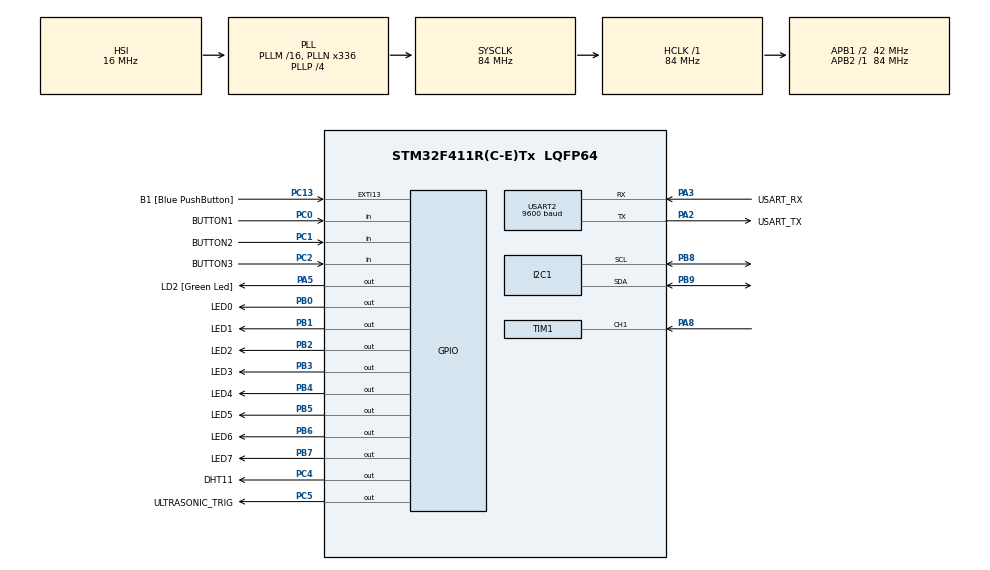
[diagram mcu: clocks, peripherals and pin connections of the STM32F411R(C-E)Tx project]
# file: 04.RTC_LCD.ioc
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Mcu.Family=STM32F4
Mcu.Name=STM32F411R(C-E)Tx
Mcu.Package=LQFP64
NVIC.PriorityGroup=NVIC_PRIORITYGROUP_0
NVIC.TIM1_BRK_TIM9_IRQn=true\:0\:0\:false\:false\:true\:true\:true\:true
NVIC.TIM1_CC_IRQn=true\:0\:0\:false\:false\:true\:true\:true\:true
NVIC.TIM1_TRG_COM_TIM11_IRQn=true\:0\:0\:false\:true\:true\:1\:true\:true\:true
NVIC.TIM1_UP_TIM10_IRQn=true\:0\:0\:false\:false\:true\:true\:true\:true
NVIC.USART2_IRQn=true\:0\:0\:false\:false\:true\:true\:true\:true
PA13.GPIO_Label=TMS
PA13.Mode=Serial_Wire
PA13.Signal=SYS_JTMS-SWDIO
PA14.GPIO_Label=TCK
PA14.Mode=Serial_Wire
PA14.Signal=SYS_JTCK-SWCLK
PA2.GPIO_Label=USART_TX
PA2.Mode=Asynchronous
PA2.Signal=USART2_TX
PA3.GPIO_Label=USART_RX
PA3.Mode=Asynchronous
PA3.Signal=USART2_RX
PA5.GPIO_Label=LD2 [Green Led]
PA5.Signal=GPIO_Output
PA8.Signal=S_TIM1_CH1
PB0.GPIO_Label=LED0
PB0.Signal=GPIO_Output
PB1.GPIO_Label=LED1
PB1.Signal=GPIO_Output
PB2.GPIO_Label=LED2
PB2.Signal=GPIO_Output
PB3.GPIO_Label=LED3
PB3.Signal=GPIO_Output
PB4.GPIO_Label=LED4
PB4.Signal=GPIO_Output
PB5.GPIO_Label=LED5
PB5.Signal=GPIO_Output
PB6.GPIO_Label=LED6
PB6.Signal=GPIO_Output
PB7.GPIO_Label=LED7
PB7.Signal=GPIO_Output
PB8.Mode=I2C
PB8.Signal=I2C1_SCL
PB9.Mode=I2C
PB9.Signal=I2C1_SDA
PC0.GPIO_Label=BUTTON1
PC0.Signal=GPIO_Input
PC1.GPIO_Label=BUTTON2
PC1.Signal=GPIO_Input
PC13-ANTI_TAMP.GPIO_Label=B1 [Blue PushButton]
PC13-ANTI_TAMP.GPIO_ModeDefaultEXTI=GPIO_MODE_IT_FALLING
PC13-ANTI_TAMP.Signal=GPXTI13
PC14-OSC32_IN.Mode=LSE-External-Oscillator
PC14-OSC32_IN.Signal=RCC_OSC32_IN
PC15-OSC32_OUT.Mode=LSE-External-Oscillator
PC15-OSC32_OUT.Signal=RCC_OSC32_OUT
PC2.GPIO_Label=BUTTON3
PC2.Signal=GPIO_Input
PC4.GPIO_Label=DHT11
PC4.Signal=GPIO_Output
PC5.GPIO_Label=ULTRASONIC_TRIG
PC5.Signal=GPIO_Output
PH0\ -\ OSC_IN.Mode=HSE-External-Clock-Source
PH0\ -\ OSC_IN.Signal=RCC_OSC_IN
PH1\ -\ OSC_OUT.Mode=HSE-External-Clock-Source
PH1\ -\ OSC_OUT.Signal=RCC_OSC_OUT
ProjectManager.HeapSize=0x200
ProjectManager.StackSize=0x400
ProjectManager.TargetToolchain=STM32CubeIDE
RCC.48MHZClocksFreq_Value=84000000
RCC.AHBFreq_Value=84000000
RCC.APB1CLKDivider=RCC_HCLK_DIV2
RCC.APB1Freq_Value=42000000
RCC.APB1TimFreq_Value=84000000
RCC.APB2Freq_Value=84000000
RCC.APB2TimFreq_Value=84000000
RCC.CortexFreq_Value=84000000
RCC.FLatency-AdvancedSettings=FLASH_LATENCY_2
RCC.HCLKFreq_Value=84000000
RCC.HSE_VALUE=8000000
RCC.HSI_VALUE=16000000
RCC.PLLN=336
RCC.PLLP=RCC_PLLP_DIV4
RCC.SYSCLKFreq_VALUE=84000000
RCC.SYSCLKSource=RCC_SYSCLKSOURCE_PLLCLK
RCC.VCOOutputFreq_Value=336000000
RTC.Date=30
RTC.Hours=11
RTC.Minutes=10
RTC.Month=RTC_MONTH_AUGUST
RTC.WeekDay=RTC_WEEKDAY_TUESDAY
RTC.Year=22
SH.S_TIM1_CH1.0=TIM1_CH1,Input_Capture1_from_TI1
TIM1.Channel-Input_Capture1_from_TI1=TIM_CHANNEL_1
TIM1.ICPolarity_CH1=TIM_INPUTCHANNELPOLARITY_BOTHEDGE
TIM1.Prescaler=84-1
TIM11.Period=10000-1
TIM11.Prescaler=84-1
USART2.BaudRate=9600
USART2.VirtualMode=VM_ASYNC
VP_RTC_VS_RTC_Activate.Mode=RTC_Enabled
VP_RTC_VS_RTC_Calendar.Mode=RTC_Calendar
VP_TIM11_VS_ClockSourceINT.Mode=Enable_Timer
VP_TIM1_VS_ClockSourceINT.Mode=Internal
board=NUCLEO-F411RE

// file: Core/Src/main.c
/* USER CODE BEGIN Header */
/**
  ******************************************************************************
  * @file           : main.c
  * @brief          : Main program body
  ******************************************************************************
  * @attention
  *
  * Copyright (c) 2022 STMicroelectronics.
  * All rights reserved.
  *
  * This software is licensed under terms that can be found in the LICENSE file
  * in the root directory of this software component.
  * If no LICENSE file comes with this software, it is provided AS-IS.
  *
  ******************************************************************************
  */
/* USER CODE END Header */
#include "main.h"

I2C_HandleTypeDef hi2c1;

RTC_HandleTypeDef hrtc;

TIM_HandleTypeDef htim1;
TIM_HandleTypeDef htim11;

UART_HandleTypeDef huart2;

void SystemClock_Config(void);
static void MX_GPIO_Init(void);
static void MX_USART2_UART_Init(void);
static void MX_TIM11_Init(void);
static void MX_TIM1_Init(void);
static void MX_RTC_Init(void);
static void MX_I2C1_Init(void);
static void MX_NVIC_Init(void);
/* USER CODE BEGIN PFP */
extern void led_all_on();
extern void led_all_off();
extern void led_on_up();
extern void led_on_down();
extern void led2_toggle();
extern void button1_ledall_on_off();
extern void HAL_SYSTICK_Callback();
extern volatile uint8_t rx_data;
extern void pc_command_processing();
extern void ultrasonic_processing();
extern void get_rtc_time(void);

/* USER CODE END PFP */

/* USER CODE BEGIN 0 */
//----------  printf start ----------
#ifdef __GNUC__
/* With GCC, small printf (option LD Linker->Libraries->Small printf
   set to 'Yes') calls __io_putchar() */
#define PUTCHAR_PROTOTYPE int __io_putchar(int ch)
#else
#define PUTCHAR_PROTOTYPE int fputc(int ch, FILE *f)
#endif /* __GNUC_ */
/**
  * @brief  Retargets the C library printf function to the USART.
  * @param  None
  * @retval None
  */
PUTCHAR_PROTOTYPE   // Add for printf
{
  /* Place your implementation of fputc here */
  /* e.g. write a character to the USART3 and Loop until the end of transmission */
  HAL_UART_Transmit(&huart2, (uint8_t *)&ch, 1, 0xFFFF);

  return ch;
}
//----------  printf end ----------
volatile int t1ms_count = 0;
volatile int t2ms_count = 0;
// call by SysTick_Handler of stm32f4xx_it.c
// enter here every 1ms
// ARM default function
void HAL_SYSTICK_Callback()
{
	t1ms_count++; //
	t2ms_count++; //
}
// copy from Driver/STM32F4xx_HAL_Driver/stm32f4xx_hal_tim.c to here
// every TIMER INT callBack function : enter here every 10ms
volatile int TIM11_10ms_counter=0;
volatile int TIM11_10ms_ultrasonic_counter = 0;

void HAL_TIM_PeriodElapsedCallback(TIM_HandleTypeDef *htim)
{
	if(htim->Instance == TIM11)
	{
		TIM11_10ms_counter++;
		TIM11_10ms_ultrasonic_counter++;
	}
}
// count us timer pulse
// 0.000001sec ==> 1us
// 0.001sec ==> 1ms ==> 1000us
// 0.1sec ==> 100ms ==> 100000us
void delay_us(unsigned long us)
{
	//TCNT=0; ex) AVR
	__HAL_TIM_SET_COUNTER(&htim1, 0); // clear timer counter
	while(__HAL_TIM_GET_COUNTER(&htim1) < us) // wait counter value until reach
	;
}
/* USER CODE END 0 */

int main(void)
{

  /* MCU Configuration--------------------------------------------------------*/

  /* Reset of all peripherals, Initializes the Flash interface and the Systick. */
  HAL_Init();

  /* Configure the system clock */
  SystemClock_Config();

  /* Initialize all configured peripherals */
  MX_GPIO_Init();
  MX_USART2_UART_Init();
  MX_TIM11_Init();
  MX_TIM1_Init();
  MX_RTC_Init();
  MX_I2C1_Init();

  /* Initialize interrupts */
  MX_NVIC_Init();
  /* USER CODE BEGIN 2 */
  HAL_TIM_Base_Start_IT(&htim11); // add_SHHAN_0826 for TIM11 every 10ms
  HAL_TIM_IC_Start_IT(&htim1, TIM_CHANNEL_1); // add_SHHAN_0826 for us_delay, ultrasonic

  HAL_UART_Receive_IT(&huart2, &rx_data, 1);	// PC UART Enable rx_interrupt

  DHT11_Init();	// keep high while 3sec data line
  i2c_lcd_init();
  printf("Hello STM32!!!\n");

  /* USER CODE END 2 */

  /* Infinite loop */
  while (1)
  {

    /* USER CODE BEGIN 3 */

	  DHT11_processing();
	  pc_command_processing();
	  ultrasonic_processing();
	  get_rtc_time();

//	  HAL_GPIO_TogglePin(GPIOB, 0xff);
//	  delay_us(50000); // 50ms
//	  if (t1ms_count >= 200)
//	  {
//		  t1ms_count = 0;
//		  HAL_GPIO_TogglePin(GPIOA, GPIO_PIN_5);  // DEMO b'd  LED2
//	  }

//	  if (t2ms_count >= 500)
//	  {
//		  t2ms_count = 0;
//		  HAL_GPIO_TogglePin(GPIOB, 0xff);  // DEMO b'd  LED2
//	  }

//	  if(TIM11_10ms_counter >= 10) //100ms 마다 led �??????? toggle
//	  {
//		  TIM11_10ms_counter = 0;
//		  HAL_GPIO_TogglePin(GPIOB, 0xff);  // DEMO b'd  LED2
//	  }

//	  button1_ledall_on_off();
//	  led2_toggle();
//	  led_on1_down();
//	  led_on1_up();
//
//	  led_on_up();
//	  led_all_off();
//	  led_on_down();
//	  led_all_on();
//
//	  HAL_Delay(1000);    // 1000ms
//	  led_all_off();
//	  HAL_Delay(1000);    // 1000ms
  }
  /* USER CODE END 3 */
}

void SystemClock_Config(void)
{
  RCC_OscInitTypeDef RCC_OscInitStruct = {0};
  RCC_ClkInitTypeDef RCC_ClkInitStruct = {0};

  /** Configure the main internal regulator output voltage
  */
  __HAL_RCC_PWR_CLK_ENABLE();
  __HAL_PWR_VOLTAGESCALING_CONFIG(PWR_REGULATOR_VOLTAGE_SCALE1);

  /** Initializes the RCC Oscillators according to the specified parameters
  * in the RCC_OscInitTypeDef structure.
  */
  RCC_OscInitStruct.OscillatorType = RCC_OSCILLATORTYPE_HSI|RCC_OSCILLATORTYPE_LSI;
  RCC_OscInitStruct.HSIState = RCC_HSI_ON;
  RCC_OscInitStruct.HSICalibrationValue = RCC_HSICALIBRATION_DEFAULT;
  RCC_OscInitStruct.LSIState = RCC_LSI_ON;
  RCC_OscInitStruct.PLL.PLLState = RCC_PLL_ON;
  RCC_OscInitStruct.PLL.PLLSource = RCC_PLLSOURCE_HSI;
  RCC_OscInitStruct.PLL.PLLM = 16;
  RCC_OscInitStruct.PLL.PLLN = 336;
  RCC_OscInitStruct.PLL.PLLP = RCC_PLLP_DIV4;
  RCC_OscInitStruct.PLL.PLLQ = 4;
  if (HAL_RCC_OscConfig(&RCC_OscInitStruct) != HAL_OK)
  {
    Error_Handler();
  }

  /** Initializes the CPU, AHB and APB buses clocks
  */
  RCC_ClkInitStruct.ClockType = RCC_CLOCKTYPE_HCLK|RCC_CLOCKTYPE_SYSCLK
                              |RCC_CLOCKTYPE_PCLK1|RCC_CLOCKTYPE_PCLK2;
  RCC_ClkInitStruct.SYSCLKSource = RCC_SYSCLKSOURCE_PLLCLK;
  RCC_ClkInitStruct.AHBCLKDivider = RCC_SYSCLK_DIV1;
  RCC_ClkInitStruct.APB1CLKDivider = RCC_HCLK_DIV2;
  RCC_ClkInitStruct.APB2CLKDivider = RCC_HCLK_DIV1;

  if (HAL_RCC_ClockConfig(&RCC_ClkInitStruct, FLASH_LATENCY_2) != HAL_OK)
  {
    Error_Handler();
  }
}

/**
  * @brief NVIC Configuration.
  * @retval None
  */
static void MX_NVIC_Init(void)
{
  /* TIM1_TRG_COM_TIM11_IRQn interrupt configuration */
  HAL_NVIC_SetPriority(TIM1_TRG_COM_TIM11_IRQn, 0, 0);
  HAL_NVIC_EnableIRQ(TIM1_TRG_COM_TIM11_IRQn);
}

static void MX_I2C1_Init(void)
{

  hi2c1.Instance = I2C1;
  hi2c1.Init.ClockSpeed = 100000;
  hi2c1.Init.DutyCycle = I2C_DUTYCYCLE_2;
  hi2c1.Init.OwnAddress1 = 0;
  hi2c1.Init.AddressingMode = I2C_ADDRESSINGMODE_7BIT;
  hi2c1.Init.DualAddressMode = I2C_DUALADDRESS_DISABLE;
  hi2c1.Init.OwnAddress2 = 0;
  hi2c1.Init.GeneralCallMode = I2C_GENERALCALL_DISABLE;
  hi2c1.Init.NoStretchMode = I2C_NOSTRETCH_DISABLE;
  if (HAL_I2C_Init(&hi2c1) != HAL_OK)
  {
    Error_Handler();
  }

}

static void MX_RTC_Init(void)
{

  RTC_TimeTypeDef sTime = {0};
  RTC_DateTypeDef sDate = {0};

  /** Initialize RTC Only
  */
  hrtc.Instance = RTC;
  hrtc.Init.HourFormat = RTC_HOURFORMAT_24;
  hrtc.Init.AsynchPrediv = 127;
  hrtc.Init.SynchPrediv = 255;
  hrtc.Init.OutPut = RTC_OUTPUT_DISABLE;
  hrtc.Init.OutPutPolarity = RTC_OUTPUT_POLARITY_HIGH;
  hrtc.Init.OutPutType = RTC_OUTPUT_TYPE_OPENDRAIN;
  if (HAL_RTC_Init(&hrtc) != HAL_OK)
  {
    Error_Handler();
  }

  /** Initialize RTC and set the Time and Date
  */
  sTime.Hours = 0x11;
  sTime.Minutes = 0x10;
  sTime.Seconds = 0x0;
  sTime.DayLightSaving = RTC_DAYLIGHTSAVING_NONE;
  sTime.StoreOperation = RTC_STOREOPERATION_RESET;
  if (HAL_RTC_SetTime(&hrtc, &sTime, RTC_FORMAT_BCD) != HAL_OK)
  {
    Error_Handler();
  }
  sDate.WeekDay = RTC_WEEKDAY_TUESDAY;
  sDate.Month = RTC_MONTH_AUGUST;
  sDate.Date = 0x30;
  sDate.Year = 0x22;

  if (HAL_RTC_SetDate(&hrtc, &sDate, RTC_FORMAT_BCD) != HAL_OK)
  {
    Error_Handler();
  }

}

static void MX_TIM1_Init(void)
{

  TIM_ClockConfigTypeDef sClockSourceConfig = {0};
  TIM_MasterConfigTypeDef sMasterConfig = {0};
  TIM_IC_InitTypeDef sConfigIC = {0};

  htim1.Instance = TIM1;
  htim1.Init.Prescaler = 84-1;
  htim1.Init.CounterMode = TIM_COUNTERMODE_UP;
  htim1.Init.Period = 65535;
  htim1.Init.ClockDivision = TIM_CLOCKDIVISION_DIV1;
  htim1.Init.RepetitionCounter = 0;
  htim1.Init.AutoReloadPreload = TIM_AUTORELOAD_PRELOAD_DISABLE;
  if (HAL_TIM_Base_Init(&htim1) != HAL_OK)
  {
    Error_Handler();
  }
  sClockSourceConfig.ClockSource = TIM_CLOCKSOURCE_INTERNAL;
  if (HAL_TIM_ConfigClockSource(&htim1, &sClockSourceConfig) != HAL_OK)
  {
    Error_Handler();
  }
  if (HAL_TIM_IC_Init(&htim1) != HAL_OK)
  {
    Error_Handler();
  }
  sMasterConfig.MasterOutputTrigger = TIM_TRGO_RESET;
  sMasterConfig.MasterSlaveMode = TIM_MASTERSLAVEMODE_DISABLE;
  if (HAL_TIMEx_MasterConfigSynchronization(&htim1, &sMasterConfig) != HAL_OK)
  {
    Error_Handler();
  }
  sConfigIC.ICPolarity = TIM_INPUTCHANNELPOLARITY_BOTHEDGE;
  sConfigIC.ICSelection = TIM_ICSELECTION_DIRECTTI;
  sConfigIC.ICPrescaler = TIM_ICPSC_DIV1;
  sConfigIC.ICFilter = 0;
  if (HAL_TIM_IC_ConfigChannel(&htim1, &sConfigIC, TIM_CHANNEL_1) != HAL_OK)
  {
    Error_Handler();
  }

}

static void MX_TIM11_Init(void)
{

  htim11.Instance = TIM11;
  htim11.Init.Prescaler = 84-1;
  htim11.Init.CounterMode = TIM_COUNTERMODE_UP;
  htim11.Init.Period = 10000-1;
  htim11.Init.ClockDivision = TIM_CLOCKDIVISION_DIV1;
  htim11.Init.AutoReloadPreload = TIM_AUTORELOAD_PRELOAD_DISABLE;
  if (HAL_TIM_Base_Init(&htim11) != HAL_OK)
  {
    Error_Handler();
  }

}

static void MX_USART2_UART_Init(void)
{

  huart2.Instance = USART2;
  huart2.Init.BaudRate = 9600;
  huart2.Init.WordLength = UART_WORDLENGTH_8B;
  huart2.Init.StopBits = UART_STOPBITS_1;
  huart2.Init.Parity = UART_PARITY_NONE;
  huart2.Init.Mode = UART_MODE_TX_RX;
  huart2.Init.HwFlowCtl = UART_HWCONTROL_NONE;
  huart2.Init.OverSampling = UART_OVERSAMPLING_16;
  if (HAL_UART_Init(&huart2) != HAL_OK)
  {
    Error_Handler();
  }

}

static void MX_GPIO_Init(void)
{
  GPIO_InitTypeDef GPIO_InitStruct = {0};

  /* GPIO Ports Clock Enable */
  __HAL_RCC_GPIOC_CLK_ENABLE();
  __HAL_RCC_GPIOH_CLK_ENABLE();
  __HAL_RCC_GPIOA_CLK_ENABLE();
  __HAL_RCC_GPIOB_CLK_ENABLE();

  /*Configure GPIO pin Output Level */
  HAL_GPIO_WritePin(LD2_GPIO_Port, LD2_Pin, GPIO_PIN_RESET);

  /*Configure GPIO pin Output Level */
  HAL_GPIO_WritePin(GPIOC, DHT11_Pin|ULTRASONIC_TRIG_Pin, GPIO_PIN_RESET);

  /*Configure GPIO pin Output Level */
  HAL_GPIO_WritePin(GPIOB, LED0_Pin|LED1_Pin|LED2_Pin|LED3_Pin
                          |LED4_Pin|LED5_Pin|LED6_Pin|LED7_Pin, GPIO_PIN_RESET);

  /*Configure GPIO pin : B1_Pin */
  GPIO_InitStruct.Pin = B1_Pin;
  GPIO_InitStruct.Mode = GPIO_MODE_IT_FALLING;
  GPIO_InitStruct.Pull = GPIO_NOPULL;
  HAL_GPIO_Init(B1_GPIO_Port, &GPIO_InitStruct);

  /*Configure GPIO pins : BUTTON1_Pin BUTTON2_Pin BUTTON3_Pin */
  GPIO_InitStruct.Pin = BUTTON1_Pin|BUTTON2_Pin|BUTTON3_Pin;
  GPIO_InitStruct.Mode = GPIO_MODE_INPUT;
  GPIO_InitStruct.Pull = GPIO_NOPULL;
  HAL_GPIO_Init(GPIOC, &GPIO_InitStruct);

  /*Configure GPIO pin : LD2_Pin */
  GPIO_InitStruct.Pin = LD2_Pin;
  GPIO_InitStruct.Mode = GPIO_MODE_OUTPUT_PP;
  GPIO_InitStruct.Pull = GPIO_NOPULL;
  GPIO_InitStruct.Speed = GPIO_SPEED_FREQ_LOW;
  HAL_GPIO_Init(LD2_GPIO_Port, &GPIO_InitStruct);

  /*Configure GPIO pins : DHT11_Pin ULTRASONIC_TRIG_Pin */
  GPIO_InitStruct.Pin = DHT11_Pin|ULTRASONIC_TRIG_Pin;
  GPIO_InitStruct.Mode = GPIO_MODE_OUTPUT_PP;
  GPIO_InitStruct.Pull = GPIO_NOPULL;
  GPIO_InitStruct.Speed = GPIO_SPEED_FREQ_LOW;
  HAL_GPIO_Init(GPIOC, &GPIO_InitStruct);

  /*Configure GPIO pins : LED0_Pin LED1_Pin LED2_Pin LED3_Pin
                           LED4_Pin LED5_Pin LED6_Pin LED7_Pin */
  GPIO_InitStruct.Pin = LED0_Pin|LED1_Pin|LED2_Pin|LED3_Pin
                          |LED4_Pin|LED5_Pin|LED6_Pin|LED7_Pin;
  GPIO_InitStruct.Mode = GPIO_MODE_OUTPUT_PP;
  GPIO_InitStruct.Pull = GPIO_NOPULL;
  GPIO_InitStruct.Speed = GPIO_SPEED_FREQ_LOW;
  HAL_GPIO_Init(GPIOB, &GPIO_InitStruct);

}

void Error_Handler(void)
{
  __disable_irq();
  while (1)
  {
  }
}
